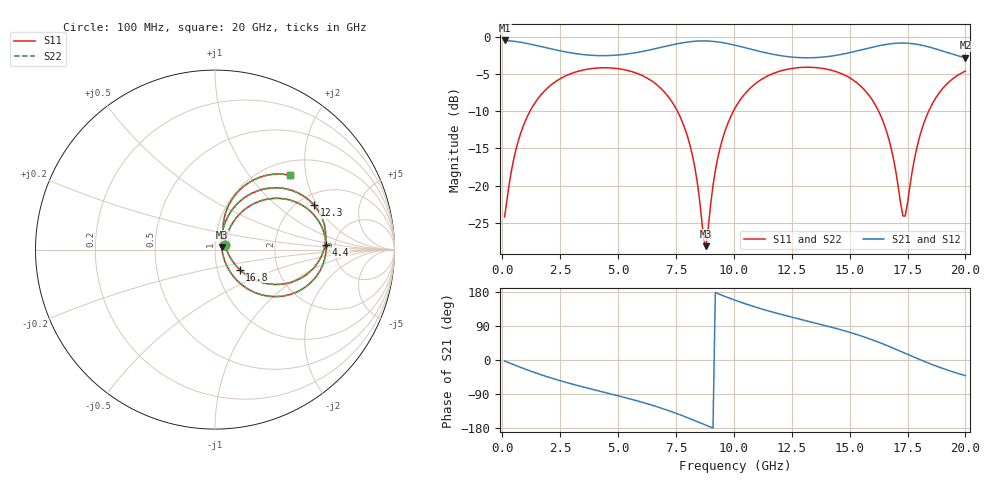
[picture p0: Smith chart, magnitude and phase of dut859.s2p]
! Touchstone file exported from HFSS 2026.1.0
!  File:  C:/ffzhzh/LocalFiles/Ansys_Project_Files/temp_train_TSV_RDL_859_1783270669_5512.aedt
!  Generated:  01:10:53 AM Jul  6, 2026
!  Design:  TSV_RDL
!  Project:  temp_train_TSV_RDL_859_1783270669_5512
! Variables:
!  h_bsmrdl = 4.5um
!  h_ox = 20um
!  h_rdl = 5um
!  h_sub = 82.03um
!  h_tmrdl = 2.18um
!  h_tsv = 82.03um
!  h_via = 3um
!  l_bsmrdl = 848.09um
!  l_sub = 6375.88um
!  l_tmrdl = 828.78um
!  m_sub = 200um
!  pitch = 57.06um
!  r_tsv = 9.94um
!  s_tmrdl = 10um
!  w_bsmrdl = 27.86um
!  w_sub = 500um
!  w_tmrdl = 10.97um
!  x_tsv_center1 = 834.265um
!  x_tsv_center2 = 1710.215um
!  x_tsv_center3 = 2549.965um
!  x_tsv_center4 = 3425.915um
!  x_tsv_center5 = 4265.665um
!  x_tsv_center6 = 5141.615um
# GHz S MA R 50.000000
! Terminal data exported
! Port[1] = TM_RDL1_1_T1
! Port[2] = TM_RDL5_1_T1
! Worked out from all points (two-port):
!   200 points, 100 MHz to 20 GHz, reference 50 ohm
!   highest |S21| = -0.49 dB at 100 MHz (marker M1); lowest = -2.8 dB at 20 GHz (marker M2)
!   |S21| within 3 dB of the highest: start of sweep to end of sweep
!   lowest |S11| = -28.1 dB at 8.8 GHz (marker M3), VSWR 1.08, Z = 53.8 + j1.35 ohm
!   |S11| at or under -10 dB: start of sweep to 1.196 GHz; 7.564 GHz to 9.98 GHz (2.416 GHz wide, 27.5 % of centre); 16.25 GHz to 18.41 GHz (2.162 GHz wide, 12.5 % of centre)
!   |S22| runs from -28.1 to -4.1 dB; largest |S21 - S12| = 1.7e-14
!   S11 on the Smith chart (normalised r, x): 100 MHz: 1.12, +0.06; 4.4 GHz: 4.22, +0.38; 12.3 GHz: 2.43, +1.89; 16.8 GHz: 1.28, -0.29; 20 GHz: 1.29, +1.63
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0.1  0.06174 26.1  0.9454 -2.6  0.9454 -2.6  0.06174 26.1
! Gamma 0 0 0 0
! Port Impedance 50 0 50 0
0.6  0.1774 56.5  0.9292 -14.9  0.9292 -14.9  0.1774 56.5
1.2  0.3171 51.1  0.8938 -28.8  0.8938 -28.8  0.3171 51.1
2.2  0.4876 35.1  0.8237 -49.2  0.8237 -49.2  0.4876 35.1
3.5  0.5988 15.4  0.7597 -71.3  0.7597 -71.3  0.5988 15.4
4.4  0.6196 2.6  0.7474 -85.2  0.7474 -85.2  0.6195 2.6
6.8  0.458 -34.4  0.8458 -125.7  0.8458 -125.7  0.458 -34.4
8  0.2137 -54.4  0.9227 -152.3  0.9227 -152.3  0.2137 -54.4
8.4  0.1106 -54.0  0.936 -162.1  0.936 -162.1  0.1106 -53.9
8.8  0.03923 18.6  0.9382 -172.1  0.9382 -172.1  0.03937 18.6
9.3  0.152 69.5  0.9247 175.4  0.9247 175.4  0.1521 69.4
10.1  0.342 59.7  0.8748 156.7  0.8748 156.7  0.3421 59.6
12.3  0.6049 24.1  0.7369 116.3  0.7369 116.3  0.6049 24.1
13.4  0.6233 8.6  0.7237 99.5  0.7237 99.5  0.6234 8.6
15.5  0.4635 -23.1  0.8166 63.5  0.8166 63.5  0.4635 -23.1
16.7  0.2038 -39.3  0.8953 36.0  0.8953 36.0  0.2037 -39.4
16.8  0.1769 -39.0  0.8994 33.4  0.8994 33.4  0.1769 -39.1
17.3  0.06267 3.9  0.9083 20.3  0.9083 20.3  0.06231 3.8
17.4  0.06252 30.1  0.9076 17.7  0.9076 17.7  0.06212 30.1
17.8  0.1511 72.3  0.8959 7.1  0.8959 7.1  0.1508 72.5
18.3  0.2875 71.7  0.8647 -5.6  0.8647 -5.6  0.2873 71.8
20  0.5886 44.6  0.7226 -41.3  0.7226 -41.3  0.5885 44.7
